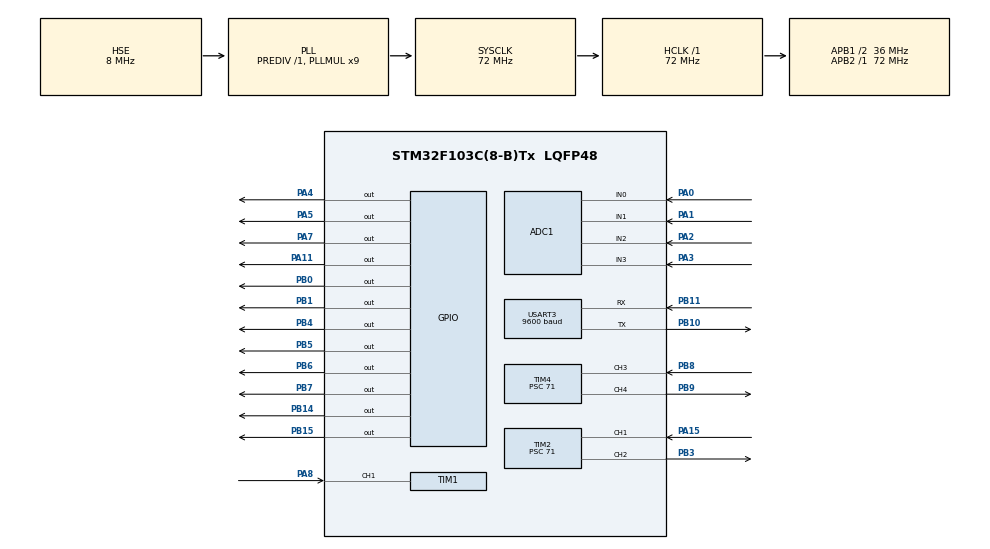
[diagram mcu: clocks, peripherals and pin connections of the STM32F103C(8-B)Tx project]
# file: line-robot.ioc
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Mcu.Family=STM32F1
NVIC.USART3_IRQn=true\:0\:0\:false\:false\:true\:true\:true
TIM2.Channel-Input_Capture1_from_TI1=TIM_CHANNEL_1
TIM4.Channel-Input_Capture3_from_TI3=TIM_CHANNEL_3
PB10.Mode=Asynchronous
ADC1.ContinuousConvMode=ENABLE
SH.ADCx_IN2.0=ADC1_IN2,IN2
TIM2.Channel-PWM\ Generation2\ CH2=TIM_CHANNEL_2
PB11.Signal=USART3_RX
PB15.Signal=GPIO_Output
RCC.SYSCLKSource=RCC_SYSCLKSOURCE_PLLCLK
ProjectManager.StackSize=0x400
PD1-OSC_OUT.Signal=RCC_OSC_OUT
TIM1.Prescaler=71
USART3.BaudRate=9600
ADC1.Channel-3\#ChannelRegularConversion=ADC_CHANNEL_3
RCC.HCLKFreq_Value=72000000
SH.ADCx_IN3.0=ADC1_IN3,IN3
RCC.APB2TimFreq_Value=72000000
PB6.Signal=GPIO_Output
Dma.ADC1.0.Direction=DMA_PERIPH_TO_MEMORY
ADC1.Channel-2\#ChannelRegularConversion=ADC_CHANNEL_2
Dma.ADC1.0.MemDataAlignment=DMA_MDATAALIGN_WORD
RCC.AHBFreq_Value=72000000
ADC1.Channel-0\#ChannelRegularConversion=ADC_CHANNEL_0
RCC.PLLMUL=RCC_PLL_MUL9
ADC1.Rank-2\#ChannelRegularConversion=3
PA14.Mode=Serial_Wire
Dma.ADC1.0.PeriphInc=DMA_PINC_DISABLE
PB7.Signal=GPIO_Output
PA8.Signal=S_TIM1_CH1
SH.ADCx_IN0.0=ADC1_IN0,IN0
TIM4.Period=399
ADC1.SamplingTime-0\#ChannelRegularConversion=ADC_SAMPLETIME_1CYCLE_5
Mcu.Package=LQFP48
PB9.Signal=S_TIM4_CH4
TIM2.Prescaler=71
PB1.Signal=GPIO_Output
PA15.Signal=S_TIM2_CH1_ETR
SH.ADCx_IN1.0=ADC1_IN1,IN1
RCC.APB1TimFreq_Value=72000000
TIM1.Period=0xffff-1
TIM4.Channel-PWM\ Generation4\ CH4=TIM_CHANNEL_4
Dma.Request0=ADC1
PB4.Signal=GPIO_Output
PA3.Signal=ADCx_IN3
RCC.PLLSourceVirtual=RCC_PLLSOURCE_HSE
Dma.ADC1.0.Instance=DMA1_Channel1
ADC1.Rank-0\#ChannelRegularConversion=1
PD1-OSC_OUT.Mode=HSE-External-Oscillator
SH.S_TIM4_CH4.0=TIM4_CH4,PWM Generation4 CH4
PD0-OSC_IN.Signal=RCC_OSC_IN
RCC.APB1CLKDivider=RCC_HCLK_DIV2
ADC1.SamplingTime-2\#ChannelRegularConversion=ADC_SAMPLETIME_1CYCLE_5
PA0-WKUP.Signal=ADCx_IN0
RCC.ADCPresc=RCC_ADCPCLK2_DIV6
PA13.Signal=SYS_JTMS-SWDIO
SH.S_TIM2_CH2.0=TIM2_CH2,PWM Generation2 CH2
Dma.ADC1.0.PeriphDataAlignment=DMA_PDATAALIGN_WORD
SH.S_TIM1_CH1.0=TIM1_CH1,Input_Capture1_from_TI1
PB11.Mode=Asynchronous
ProjectManager.TargetToolchain=MDK-ARM V5.27
Dma.ADC1.0.Mode=DMA_CIRCULAR
SH.S_TIM4_CH3.0=TIM4_CH3,Input_Capture3_from_TI3
Dma.ADC1.0.Priority=DMA_PRIORITY_LOW
ADC1.Channel-1\#ChannelRegularConversion=ADC_CHANNEL_1
RCC.USBFreq_Value=72000000
TIM4.Prescaler=71
PA1.Signal=ADCx_IN1
PD0-OSC_IN.Mode=HSE-External-Oscillator
PB10.Signal=USART3_TX
PB14.Signal=GPIO_Output
PA5.Signal=GPIO_Output
board=custom
RCC.APB2Freq_Value=72000000
VP_TIM2_VS_ClockSourceINT.Mode=Internal
TIM2.Period=399
ADC1.NbrOfConversion=4
PA13.Mode=Serial_Wire
Mcu.Name=STM32F103C(8-B)Tx
PA2.Signal=ADCx_IN2
NVIC.TIM1_CC_IRQn=true\:0\:0\:false\:false\:true\:true\:true
PB3.Signal=S_TIM2_CH2
PA4.Signal=GPIO_Output
ADC1.SamplingTime-1\#ChannelRegularConversion=ADC_SAMPLETIME_1CYCLE_5
RCC.SYSCLKFreq_VALUE=72000000
PB5.Signal=GPIO_Output
USART3.Mode=MODE_RX
ADC1.master=1
ADC1.Rank-3\#ChannelRegularConversion=4
ADC1.SamplingTime-3\#ChannelRegularConversion=ADC_SAMPLETIME_1CYCLE_5
USART3.VirtualMode=VM_ASYNC
TIM1.Channel-Input_Capture1_from_TI1=TIM_CHANNEL_1
ADC1.Rank-1\#ChannelRegularConversion=2
PA11.Signal=GPIO_Output
SH.S_TIM2_CH1_ETR.0=TIM2_CH1,Input_Capture1_from_TI1
PA14.Signal=SYS_JTCK-SWCLK
Dma.ADC1.0.MemInc=DMA_MINC_ENABLE
ProjectManager.HeapSize=0x200
VP_TIM4_VS_ClockSourceINT.Mode=Internal
NVIC.PriorityGroup=NVIC_PRIORITYGROUP_4
ADC1.NbrOfConversionFlag=1
PB8.Signal=S_TIM4_CH3
NVIC.DMA1_Channel1_IRQn=true\:0\:0\:false\:false\:true\:false\:true
RCC.APB1Freq_Value=36000000
PB0.Signal=GPIO_Output
PA7.Signal=GPIO_Output

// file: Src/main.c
/* USER CODE BEGIN Header */
/**
  ******************************************************************************
  * @file           : main.c
  * @brief          : Main program body
  ******************************************************************************
  * @attention
  *
  * <h2><center>&copy; Copyright (c) 2021 STMicroelectronics.
  * All rights reserved.</center></h2>
  *
  * This software component is licensed by ST under BSD 3-Clause license,
  * the "License"; You may not use this file except in compliance with the
  * License. You may obtain a copy of the License at:
  *                        opensource.org/licenses/BSD-3-Clause
  *
  ******************************************************************************
  */
/* USER CODE END Header */
#include "main.h"

/* USER CODE BEGIN Includes */
#include "stlcd.h"
#include <stdio.h>
#include <stdbool.h>
/* USER CODE END Includes */

/* USER CODE BEGIN PD */
#define BUFFER_LEN  1
/* USER CODE END PD */

ADC_HandleTypeDef hadc1;
DMA_HandleTypeDef hdma_adc1;

TIM_HandleTypeDef htim1;
TIM_HandleTypeDef htim2;
TIM_HandleTypeDef htim4;

UART_HandleTypeDef huart3;

/* USER CODE BEGIN PV */
char str[16];

//Ultra Sonic
uint32_t IC_Val1 = 0;
uint32_t IC_Val2 = 0;
uint32_t Difference = 0;
uint8_t Is_First_Captured = 0;  // is the first value captured ?
uint8_t Distance  = 0;

//ADC --> TCRT5000
bool adcEocFlag = false;
uint32_t adcValues[4];
uint8_t digout[4];

//HC-05
uint8_t RX_BUFFER[BUFFER_LEN] = {0};

//Motors
int motorspeed = 500;
bool wall_flag = false;
/* USER CODE END PV */

void SystemClock_Config(void);
static void MX_GPIO_Init(void);
static void MX_DMA_Init(void);
static void MX_ADC1_Init(void);
static void MX_TIM1_Init(void);
static void MX_TIM2_Init(void);
static void MX_USART3_UART_Init(void);
static void MX_TIM4_Init(void);

/* USER CODE BEGIN 0 */

//UATRT callback --> HC-05
void HAL_UART_RxCpltCallback(UART_HandleTypeDef *huart)
{
    if(huart->Instance == huart3.Instance)
    {
    HAL_UART_Receive_IT(&huart3, RX_BUFFER, BUFFER_LEN);
    }
}

//ultra sonic
void delay(uint16_t time)
{
	__HAL_TIM_SET_COUNTER(&htim1, 0);
	while(__HAL_TIM_GET_COUNTER(&htim1) < time);
}

void HCSR04_Read(void)
{
	HAL_GPIO_WritePin(GPIOA, GPIO_PIN_11, GPIO_PIN_SET);  // pull the TRIG pin HIGH
	delay(10);  // wait for 10 us
	HAL_GPIO_WritePin(GPIOA, GPIO_PIN_11, GPIO_PIN_RESET);  // pull the TRIG pin low

	__HAL_TIM_ENABLE_IT(&htim1, TIM_IT_CC1);
}

void HAL_TIM_IC_CaptureCallback(TIM_HandleTypeDef *htim)
{
	if (htim->Channel == HAL_TIM_ACTIVE_CHANNEL_1)  // if the interrupt source is channel1
	{
		if (Is_First_Captured==0) // if the first value is not captured
		{
			IC_Val1 = HAL_TIM_ReadCapturedValue(htim, TIM_CHANNEL_1); // read the first value
			Is_First_Captured = 1;  // set the first captured as true
			// Now change the polarity to falling edge
			__HAL_TIM_SET_CAPTUREPOLARITY(htim, TIM_CHANNEL_1, TIM_INPUTCHANNELPOLARITY_FALLING);
		}

		else if (Is_First_Captured==1)   // if the first is already captured
		{
			IC_Val2 = HAL_TIM_ReadCapturedValue(htim, TIM_CHANNEL_1);  // read second value
			__HAL_TIM_SET_COUNTER(htim, 0);  // reset the counter

			if (IC_Val2 > IC_Val1)
			{
				Difference = IC_Val2-IC_Val1;
			}

			else if (IC_Val1 > IC_Val2)
			{
				Difference = (0xffff - IC_Val1) + IC_Val2;
			}

			Distance = Difference * .034/2;
			Is_First_Captured = 0; // set it back to false

			// set polarity to rising edge
			__HAL_TIM_SET_CAPTUREPOLARITY(htim, TIM_CHANNEL_1, TIM_INPUTCHANNELPOLARITY_RISING);
			__HAL_TIM_DISABLE_IT(&htim1, TIM_IT_CC1);
		}
	}
}

//Motor actions
void left(void)
{
		HAL_GPIO_WritePin(GPIOA, GPIO_PIN_5, GPIO_PIN_RESET);
		HAL_GPIO_WritePin(GPIOA, GPIO_PIN_4, GPIO_PIN_RESET);
		HAL_GPIO_WritePin(GPIOB, GPIO_PIN_14, GPIO_PIN_SET);
		HAL_GPIO_WritePin(GPIOB, GPIO_PIN_15, GPIO_PIN_RESET);

}

void right(void)
{
		HAL_GPIO_WritePin(GPIOA, GPIO_PIN_4, GPIO_PIN_SET);
		HAL_GPIO_WritePin(GPIOA, GPIO_PIN_5, GPIO_PIN_RESET);
		HAL_GPIO_WritePin(GPIOB, GPIO_PIN_15, GPIO_PIN_RESET);
		HAL_GPIO_WritePin(GPIOB, GPIO_PIN_14, GPIO_PIN_RESET);

}

void forward(void)
{
		HAL_GPIO_WritePin(GPIOA, GPIO_PIN_4, GPIO_PIN_SET);
		HAL_GPIO_WritePin(GPIOA, GPIO_PIN_5, GPIO_PIN_RESET);
		HAL_GPIO_WritePin(GPIOB, GPIO_PIN_14, GPIO_PIN_SET);
		HAL_GPIO_WritePin(GPIOB, GPIO_PIN_15, GPIO_PIN_RESET);

}

void backward(void)
{

		__HAL_TIM_SetCompare(&htim2, TIM_CHANNEL_2, 200);
		__HAL_TIM_SetCompare(&htim4, TIM_CHANNEL_4, 200);

		HAL_GPIO_WritePin(GPIOA, GPIO_PIN_4, GPIO_PIN_RESET);
		HAL_GPIO_WritePin(GPIOA, GPIO_PIN_5, GPIO_PIN_SET);
		HAL_GPIO_WritePin(GPIOB, GPIO_PIN_14, GPIO_PIN_RESET);
		HAL_GPIO_WritePin(GPIOB, GPIO_PIN_15, GPIO_PIN_SET);

}

void speedup(void)
{
		motorspeed += 20;
		__HAL_TIM_SetCompare(&htim2, TIM_CHANNEL_2, motorspeed);
		__HAL_TIM_SetCompare(&htim4, TIM_CHANNEL_4, motorspeed);

		RX_BUFFER[0] = '8';
}

void speeddown(void)
{
		motorspeed -= 20;
		__HAL_TIM_SetCompare(&htim2, TIM_CHANNEL_2, motorspeed);
		__HAL_TIM_SetCompare(&htim4, TIM_CHANNEL_4, motorspeed);

		RX_BUFFER[0] = '8';
}

void stop(void)
{

		HAL_GPIO_WritePin(GPIOA, GPIO_PIN_4, GPIO_PIN_RESET);
		HAL_GPIO_WritePin(GPIOA, GPIO_PIN_5, GPIO_PIN_RESET);
		HAL_GPIO_WritePin(GPIOB, GPIO_PIN_14, GPIO_PIN_RESET);
		HAL_GPIO_WritePin(GPIOB, GPIO_PIN_15, GPIO_PIN_RESET);

		while(Distance <= 9){HCSR04_Read(); HAL_Delay(100);}
}
/* USER CODE END 0 */

int main(void)
{

  /* MCU Configuration--------------------------------------------------------*/

  /* Reset of all peripherals, Initializes the Flash interface and the Systick. */
  HAL_Init();

  /* Configure the system clock */
  SystemClock_Config();

  /* Initialize all configured peripherals */
  MX_GPIO_Init();
  MX_DMA_Init();
  MX_ADC1_Init();
  MX_TIM1_Init();
  MX_TIM2_Init();
  MX_USART3_UART_Init();
  MX_TIM4_Init();
  /* USER CODE BEGIN 2 */
	lcd_init();

	//Timer --> Ultra
	HAL_TIM_IC_Start_IT(&htim1, TIM_CHANNEL_1);

	//DMA --> ADCs
	HAL_ADC_Start_DMA(&hadc1, adcValues, 4);

	//UART --> HC-05
	HAL_UART_Receive_IT(&huart3, RX_BUFFER, BUFFER_LEN);

	//Timers --> Motors
	HAL_TIM_PWM_Start(&htim2, TIM_CHANNEL_2); //PWM for motor1
	HAL_TIM_PWM_Start(&htim4, TIM_CHANNEL_4); //PWM for motor2

  /* USER CODE END 2 */

  /* Infinite loop */
  while (1)
  {

    /* USER CODE BEGIN 3 */

		//Reading distance with ultra
		HCSR04_Read();
		HAL_Delay(100);

			//check the distance

		if(Distance <= 9){lcd_clear(); stop();}
		else if(Distance <= 15) {lcd_clear(); lcd_puts("Warning");}
		else if(Distance > 15)
		{
			lcd_clear();
			lcd_puts("   ---    ---   ");
			lcd_gotoxy(0, 1);
			lcd_puts("     -----     ");
		}

		/*
		//viewing Ultra's output
		lcd_gotoxy(0,0);
		sprintf(str, "%03d,", Distance);
		lcd_puts(str);
		*/

		//HC-05 Cammands
		if(RX_BUFFER[0] == '3'){left();} //turn left
		else if(RX_BUFFER[0] == '4'){right();} //turn right
		else if(RX_BUFFER[0] == '1'){forward();} //going forward
		else if(RX_BUFFER[0] == '2'){backward();} //going backward
		else if(RX_BUFFER[0] == '5' && motorspeed < 390){speedup();} //speed up
    else if(RX_BUFFER[0] == '6' && motorspeed > 10){speeddown();} //speed down

		/*
		//viewing HV-05's output
		lcd_gotoxy(5,0);
		sprintf(str, "%d,", RX_BUFFER[0]);
		lcd_puts(str);
		*/

		//Get the values of ADCs
		if(adcEocFlag)
		{
			adcEocFlag = false;

			if(adcValues[0] >= 1000){digout[0] = 0;} //represent black in left
			else if(adcValues[0] < 1000){digout[0] = 1;} //represent white in left

			if(adcValues[1] >= 1000){digout[1] = 0;} //represent black in mid left
			else if(adcValues[1] < 1000){digout[1] = 1;} //represent white in mid left

			if(adcValues[2] >= 1000){digout[2] = 0;} //represent black in mid right
			else if(adcValues[2] < 1000){digout[2] = 1;} //represent white in mid right

			if(adcValues[3] >= 1000){digout[3] = 0;} //represent black in right
			else if(adcValues[3] < 1000){digout[3] = 1;} //represent white in right

			//command according to line colors
			if(digout[0] == 1 && digout[1] == 1 && digout[2] == 1 && digout[3] == 1){backward();}

			else if(digout[0] == 0 && digout[1] == 0 && digout[2] == 0 && digout[3] == 0){forward(); }

			else if(digout[0] == 0 && digout[1] == 0 && digout[2] == 0){left(); }
			else if(digout[3] == 0 && digout[2] == 0 && digout[1] == 0){right();}

			else if(digout[1] == 0 && digout[2] == 0){forward();}

			else if(digout[0] == 0 ){left(); }
			else if(digout[3] == 0 ){right();}

			else if(digout[1] == 0 ){forward();}
			else if(digout[2] == 0 ){forward();}

			else {stop();}

			/*
			//viewing ADCs outputs
			lcd_gotoxy(0, 0);
			sprintf(str, "A:%d,", adcValues[0]);
			lcd_puts(str);

			sprintf(str, "B:%d,", adcValues[1]);
			lcd_puts(str);

			lcd_gotoxy(0, 1);
			sprintf(str, "C:%d,", adcValues[2]);
			lcd_puts(str);

			sprintf(str, "D:%d,", adcValues[3]);
			lcd_puts(str);
			*/

			HAL_ADC_Start_DMA(&hadc1, adcValues, 4);
		}

		//Motor
		__HAL_TIM_SetCompare(&htim2, TIM_CHANNEL_1, motorspeed);
		__HAL_TIM_SetCompare(&htim2, TIM_CHANNEL_2, motorspeed);

		/*
		sprintf(str,"%03d",motorspeed);
		lcd_puts(str);
		*/

  }
  /* USER CODE END 3 */
}

void SystemClock_Config(void)
{
  RCC_OscInitTypeDef RCC_OscInitStruct = {0};
  RCC_ClkInitTypeDef RCC_ClkInitStruct = {0};
  RCC_PeriphCLKInitTypeDef PeriphClkInit = {0};

  /** Initializes the RCC Oscillators according to the specified parameters
  * in the RCC_OscInitTypeDef structure.
  */
  RCC_OscInitStruct.OscillatorType = RCC_OSCILLATORTYPE_HSE;
  RCC_OscInitStruct.HSEState = RCC_HSE_ON;
  RCC_OscInitStruct.HSEPredivValue = RCC_HSE_PREDIV_DIV1;
  RCC_OscInitStruct.HSIState = RCC_HSI_ON;
  RCC_OscInitStruct.PLL.PLLState = RCC_PLL_ON;
  RCC_OscInitStruct.PLL.PLLSource = RCC_PLLSOURCE_HSE;
  RCC_OscInitStruct.PLL.PLLMUL = RCC_PLL_MUL9;
  if (HAL_RCC_OscConfig(&RCC_OscInitStruct) != HAL_OK)
  {
    Error_Handler();
  }
  /** Initializes the CPU, AHB and APB buses clocks
  */
  RCC_ClkInitStruct.ClockType = RCC_CLOCKTYPE_HCLK|RCC_CLOCKTYPE_SYSCLK
                              |RCC_CLOCKTYPE_PCLK1|RCC_CLOCKTYPE_PCLK2;
  RCC_ClkInitStruct.SYSCLKSource = RCC_SYSCLKSOURCE_PLLCLK;
  RCC_ClkInitStruct.AHBCLKDivider = RCC_SYSCLK_DIV1;
  RCC_ClkInitStruct.APB1CLKDivider = RCC_HCLK_DIV2;
  RCC_ClkInitStruct.APB2CLKDivider = RCC_HCLK_DIV1;

  if (HAL_RCC_ClockConfig(&RCC_ClkInitStruct, FLASH_LATENCY_2) != HAL_OK)
  {
    Error_Handler();
  }
  PeriphClkInit.PeriphClockSelection = RCC_PERIPHCLK_ADC;
  PeriphClkInit.AdcClockSelection = RCC_ADCPCLK2_DIV6;
  if (HAL_RCCEx_PeriphCLKConfig(&PeriphClkInit) != HAL_OK)
  {
    Error_Handler();
  }
}

static void MX_ADC1_Init(void)
{

  ADC_ChannelConfTypeDef sConfig = {0};

  /** Common config
  */
  hadc1.Instance = ADC1;
  hadc1.Init.ScanConvMode = ADC_SCAN_ENABLE;
  hadc1.Init.ContinuousConvMode = ENABLE;
  hadc1.Init.DiscontinuousConvMode = DISABLE;
  hadc1.Init.ExternalTrigConv = ADC_SOFTWARE_START;
  hadc1.Init.DataAlign = ADC_DATAALIGN_RIGHT;
  hadc1.Init.NbrOfConversion = 4;
  if (HAL_ADC_Init(&hadc1) != HAL_OK)
  {
    Error_Handler();
  }
  /** Configure Regular Channel
  */
  sConfig.Channel = ADC_CHANNEL_0;
  sConfig.Rank = ADC_REGULAR_RANK_1;
  sConfig.SamplingTime = ADC_SAMPLETIME_1CYCLE_5;
  if (HAL_ADC_ConfigChannel(&hadc1, &sConfig) != HAL_OK)
  {
    Error_Handler();
  }
  /** Configure Regular Channel
  */
  sConfig.Channel = ADC_CHANNEL_1;
  sConfig.Rank = ADC_REGULAR_RANK_2;
  if (HAL_ADC_ConfigChannel(&hadc1, &sConfig) != HAL_OK)
  {
    Error_Handler();
  }
  /** Configure Regular Channel
  */
  sConfig.Channel = ADC_CHANNEL_2;
  sConfig.Rank = ADC_REGULAR_RANK_3;
  if (HAL_ADC_ConfigChannel(&hadc1, &sConfig) != HAL_OK)
  {
    Error_Handler();
  }
  /** Configure Regular Channel
  */
  sConfig.Channel = ADC_CHANNEL_3;
  sConfig.Rank = ADC_REGULAR_RANK_4;
  if (HAL_ADC_ConfigChannel(&hadc1, &sConfig) != HAL_OK)
  {
    Error_Handler();
  }

}

static void MX_TIM1_Init(void)
{

  TIM_MasterConfigTypeDef sMasterConfig = {0};
  TIM_IC_InitTypeDef sConfigIC = {0};

  htim1.Instance = TIM1;
  htim1.Init.Prescaler = 71;
  htim1.Init.CounterMode = TIM_COUNTERMODE_UP;
  htim1.Init.Period = 0xffff-1;
  htim1.Init.ClockDivision = TIM_CLOCKDIVISION_DIV1;
  htim1.Init.RepetitionCounter = 0;
  htim1.Init.AutoReloadPreload = TIM_AUTORELOAD_PRELOAD_DISABLE;
  if (HAL_TIM_IC_Init(&htim1) != HAL_OK)
  {
    Error_Handler();
  }
  sMasterConfig.MasterOutputTrigger = TIM_TRGO_RESET;
  sMasterConfig.MasterSlaveMode = TIM_MASTERSLAVEMODE_DISABLE;
  if (HAL_TIMEx_MasterConfigSynchronization(&htim1, &sMasterConfig) != HAL_OK)
  {
    Error_Handler();
  }
  sConfigIC.ICPolarity = TIM_INPUTCHANNELPOLARITY_RISING;
  sConfigIC.ICSelection = TIM_ICSELECTION_DIRECTTI;
  sConfigIC.ICPrescaler = TIM_ICPSC_DIV1;
  sConfigIC.ICFilter = 0;
  if (HAL_TIM_IC_ConfigChannel(&htim1, &sConfigIC, TIM_CHANNEL_1) != HAL_OK)
  {
    Error_Handler();
  }

}

static void MX_TIM2_Init(void)
{

  TIM_ClockConfigTypeDef sClockSourceConfig = {0};
  TIM_MasterConfigTypeDef sMasterConfig = {0};
  TIM_IC_InitTypeDef sConfigIC = {0};
  TIM_OC_InitTypeDef sConfigOC = {0};

  htim2.Instance = TIM2;
  htim2.Init.Prescaler = 71;
  htim2.Init.CounterMode = TIM_COUNTERMODE_UP;
  htim2.Init.Period = 399;
  htim2.Init.ClockDivision = TIM_CLOCKDIVISION_DIV1;
  htim2.Init.AutoReloadPreload = TIM_AUTORELOAD_PRELOAD_DISABLE;
  if (HAL_TIM_Base_Init(&htim2) != HAL_OK)
  {
    Error_Handler();
  }
  sClockSourceConfig.ClockSource = TIM_CLOCKSOURCE_INTERNAL;
  if (HAL_TIM_ConfigClockSource(&htim2, &sClockSourceConfig) != HAL_OK)
  {
    Error_Handler();
  }
  if (HAL_TIM_IC_Init(&htim2) != HAL_OK)
  {
    Error_Handler();
  }
  if (HAL_TIM_PWM_Init(&htim2) != HAL_OK)
  {
    Error_Handler();
  }
  sMasterConfig.MasterOutputTrigger = TIM_TRGO_RESET;
  sMasterConfig.MasterSlaveMode = TIM_MASTERSLAVEMODE_DISABLE;
  if (HAL_TIMEx_MasterConfigSynchronization(&htim2, &sMasterConfig) != HAL_OK)
  {
    Error_Handler();
  }
  sConfigIC.ICPolarity = TIM_INPUTCHANNELPOLARITY_RISING;
  sConfigIC.ICSelection = TIM_ICSELECTION_DIRECTTI;
  sConfigIC.ICPrescaler = TIM_ICPSC_DIV1;
  sConfigIC.ICFilter = 0;
  if (HAL_TIM_IC_ConfigChannel(&htim2, &sConfigIC, TIM_CHANNEL_1) != HAL_OK)
  {
    Error_Handler();
  }
  sConfigOC.OCMode = TIM_OCMODE_PWM1;
  sConfigOC.Pulse = 0;
  sConfigOC.OCPolarity = TIM_OCPOLARITY_HIGH;
  sConfigOC.OCFastMode = TIM_OCFAST_DISABLE;
  if (HAL_TIM_PWM_ConfigChannel(&htim2, &sConfigOC, TIM_CHANNEL_2) != HAL_OK)
  {
    Error_Handler();
  }
  HAL_TIM_MspPostInit(&htim2);

}

static void MX_TIM4_Init(void)
{

  TIM_ClockConfigTypeDef sClockSourceConfig = {0};
  TIM_MasterConfigTypeDef sMasterConfig = {0};
  TIM_IC_InitTypeDef sConfigIC = {0};
  TIM_OC_InitTypeDef sConfigOC = {0};

  htim4.Instance = TIM4;
  htim4.Init.Prescaler = 71;
  htim4.Init.CounterMode = TIM_COUNTERMODE_UP;
  htim4.Init.Period = 399;
  htim4.Init.ClockDivision = TIM_CLOCKDIVISION_DIV1;
  htim4.Init.AutoReloadPreload = TIM_AUTORELOAD_PRELOAD_DISABLE;
  if (HAL_TIM_Base_Init(&htim4) != HAL_OK)
  {
    Error_Handler();
  }
  sClockSourceConfig.ClockSource = TIM_CLOCKSOURCE_INTERNAL;
  if (HAL_TIM_ConfigClockSource(&htim4, &sClockSourceConfig) != HAL_OK)
  {
    Error_Handler();
  }
  if (HAL_TIM_IC_Init(&htim4) != HAL_OK)
  {
    Error_Handler();
  }
  if (HAL_TIM_PWM_Init(&htim4) != HAL_OK)
  {
    Error_Handler();
  }
  sMasterConfig.MasterOutputTrigger = TIM_TRGO_RESET;
  sMasterConfig.MasterSlaveMode = TIM_MASTERSLAVEMODE_DISABLE;
  if (HAL_TIMEx_MasterConfigSynchronization(&htim4, &sMasterConfig) != HAL_OK)
  {
    Error_Handler();
  }
  sConfigIC.ICPolarity = TIM_INPUTCHANNELPOLARITY_RISING;
  sConfigIC.ICSelection = TIM_ICSELECTION_DIRECTTI;
  sConfigIC.ICPrescaler = TIM_ICPSC_DIV1;
  sConfigIC.ICFilter = 0;
  if (HAL_TIM_IC_ConfigChannel(&htim4, &sConfigIC, TIM_CHANNEL_3) != HAL_OK)
  {
    Error_Handler();
  }
  sConfigOC.OCMode = TIM_OCMODE_PWM1;
  sConfigOC.Pulse = 0;
  sConfigOC.OCPolarity = TIM_OCPOLARITY_HIGH;
  sConfigOC.OCFastMode = TIM_OCFAST_DISABLE;
  if (HAL_TIM_PWM_ConfigChannel(&htim4, &sConfigOC, TIM_CHANNEL_4) != HAL_OK)
  {
    Error_Handler();
  }
  HAL_TIM_MspPostInit(&htim4);

}

static void MX_USART3_UART_Init(void)
{

  huart3.Instance = USART3;
  huart3.Init.BaudRate = 9600;
  huart3.Init.WordLength = UART_WORDLENGTH_8B;
  huart3.Init.StopBits = UART_STOPBITS_1;
  huart3.Init.Parity = UART_PARITY_NONE;
  huart3.Init.Mode = UART_MODE_RX;
  huart3.Init.HwFlowCtl = UART_HWCONTROL_NONE;
  huart3.Init.OverSampling = UART_OVERSAMPLING_16;
  if (HAL_UART_Init(&huart3) != HAL_OK)
  {
    Error_Handler();
  }

}

static void MX_DMA_Init(void)
{

  /* DMA controller clock enable */
  __HAL_RCC_DMA1_CLK_ENABLE();

  /* DMA interrupt init */
  /* DMA1_Channel1_IRQn interrupt configuration */
  HAL_NVIC_SetPriority(DMA1_Channel1_IRQn, 0, 0);
  HAL_NVIC_EnableIRQ(DMA1_Channel1_IRQn);

}

static void MX_GPIO_Init(void)
{
  GPIO_InitTypeDef GPIO_InitStruct = {0};

  /* GPIO Ports Clock Enable */
  __HAL_RCC_GPIOD_CLK_ENABLE();
  __HAL_RCC_GPIOA_CLK_ENABLE();
  __HAL_RCC_GPIOB_CLK_ENABLE();

  /*Configure GPIO pin Output Level */
  HAL_GPIO_WritePin(GPIOA, GPIO_PIN_4|GPIO_PIN_5|GPIO_PIN_7|GPIO_PIN_11, GPIO_PIN_RESET);

  /*Configure GPIO pin Output Level */
  HAL_GPIO_WritePin(GPIOB, GPIO_PIN_0|GPIO_PIN_1|GPIO_PIN_14|GPIO_PIN_15
                          |GPIO_PIN_4|GPIO_PIN_5|GPIO_PIN_6|GPIO_PIN_7, GPIO_PIN_RESET);

  /*Configure GPIO pins : PA4 PA5 PA7 PA11 */
  GPIO_InitStruct.Pin = GPIO_PIN_4|GPIO_PIN_5|GPIO_PIN_7|GPIO_PIN_11;
  GPIO_InitStruct.Mode = GPIO_MODE_OUTPUT_PP;
  GPIO_InitStruct.Pull = GPIO_NOPULL;
  GPIO_InitStruct.Speed = GPIO_SPEED_FREQ_LOW;
  HAL_GPIO_Init(GPIOA, &GPIO_InitStruct);

  /*Configure GPIO pins : PB0 PB1 PB14 PB15
                           PB4 PB5 PB6 PB7 */
  GPIO_InitStruct.Pin = GPIO_PIN_0|GPIO_PIN_1|GPIO_PIN_14|GPIO_PIN_15
                          |GPIO_PIN_4|GPIO_PIN_5|GPIO_PIN_6|GPIO_PIN_7;
  GPIO_InitStruct.Mode = GPIO_MODE_OUTPUT_PP;
  GPIO_InitStruct.Pull = GPIO_NOPULL;
  GPIO_InitStruct.Speed = GPIO_SPEED_FREQ_LOW;
  HAL_GPIO_Init(GPIOB, &GPIO_InitStruct);

}

/* USER CODE BEGIN 4 */
void HAL_ADC_ConvCpltCallback(ADC_HandleTypeDef* hadc)
{
	adcEocFlag = true;
}
/* USER CODE END 4 */

void Error_Handler(void)
{
  __disable_irq();
  while (1)
  {
  }
}

/************************ (C) COPYRIGHT STMicroelectronics *****END OF FILE****/
